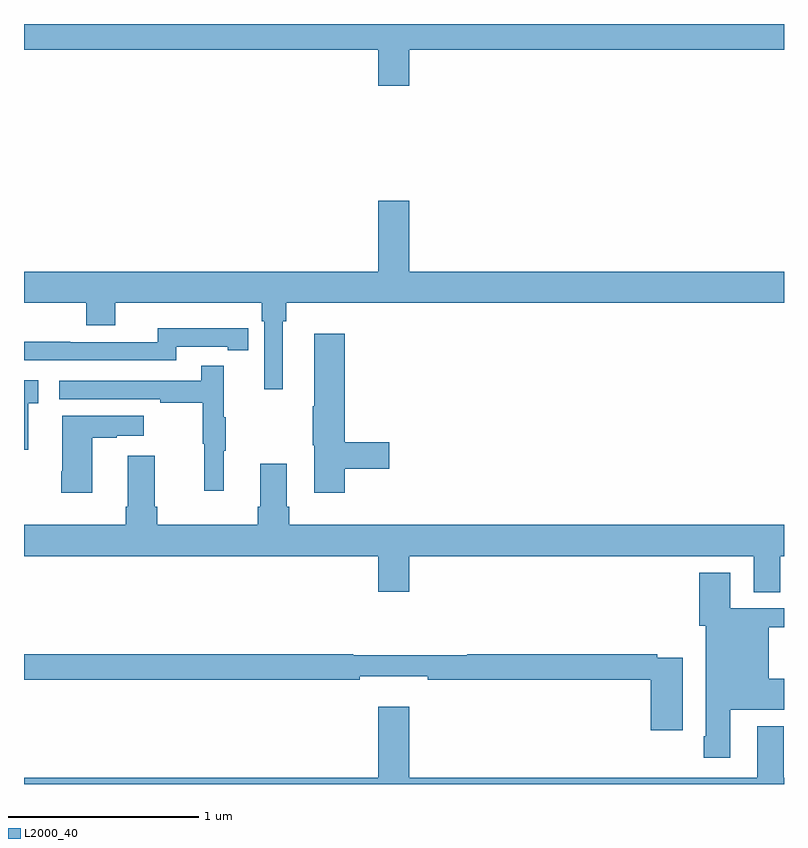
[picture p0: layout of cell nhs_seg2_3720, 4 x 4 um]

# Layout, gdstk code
import gdstk
lib = gdstk.Library(unit=1e-6, precision=1e-09)
def P(c, l, *ps):  # polygons
    for p in ps: c.add(gdstk.Polygon(p, *l))
L2000_40 = (2000, 40)

nhs_seg2_3720 = lib.new_cell('nhs_seg2_3720')
P(nhs_seg2_3720, L2000_40, [(307,619.664),(308.864,619.664),(308.864,619.476),(309.028,619.476),(309.028,619.664),(311,619.664),(311,619.8),(307,619.8)],
  [(308.362,618.236),(308.381,618.236),(308.381,618.332),(311,618.332),(311,618.496),(309.028,618.496),(309.028,618.871),(308.864,618.871),(308.864,618.496),(307,618.496),(307,618.332),(307.328,618.332),(307.328,618.215),(307.48,618.215),(307.48,618.332),(308.252,618.332),(308.252,618.236),(308.265,618.236),(308.265,617.877),(308.362,617.877)],
  [(307.8,618.102),(308.072,618.102),(308.072,618.082),(308.18,618.082),(308.18,618.198),(308.072,618.198),(308.072,618.199),(307.704,618.199),(307.704,618.126),(307.244,618.126),(307.244,618.128),(307,618.128),(307,618.03),(307.8,618.03)],
  [(308.687,617.458),(308.923,617.458),(308.923,617.6),(308.687,617.6),(308.687,618.169),(308.528,618.169),(308.528,617.789),(308.521,617.789),(308.521,617.583),(308.528,617.583),(308.528,617.334),(308.687,617.334)],
  [(308.051,617.555),(308.062,617.555),(308.062,617.729),(308.051,617.729),(308.051,618.001),(307.933,618.001),(307.933,617.922),(307.185,617.922),(307.185,617.826),(307.717,617.826),(307.717,617.806),(307.941,617.806),(307.941,617.592),(307.948,617.592),(307.948,617.343),(308.051,617.343)],
  [(307.022,617.805),(307.075,617.805),(307.075,617.926),(307,617.926),(307,617.559),(307.022,617.559)],
  [(307.36,617.623),(307.487,617.623),(307.487,617.633),(307.63,617.633),(307.63,617.737),(307.202,617.737),(307.202,617.446),(307.195,617.446),(307.195,617.334),(307.36,617.334)],
  [(310.981,617),(311,617),(311,617.164),(308.396,617.164),(308.396,617.26),(308.383,617.26),(308.383,617.485),(308.243,617.485),(308.243,617.26),(308.231,617.26),(308.231,617.164),(307.7,617.164),(307.7,617.26),(307.687,617.26),(307.687,617.527),(307.547,617.527),(307.547,617.26),(307.535,617.26),(307.535,617.164),(307,617.164),(307,617),(308.864,617),(308.864,616.812),(309.028,616.812),(309.028,617),(310.841,617),(310.841,616.81),(310.981,616.81)],
  [(310.717,616.19),(311,616.19),(311,616.354),(310.921,616.354),(310.921,616.624),(311,616.624),(311,616.725),(310.717,616.725),(310.717,616.912),(310.553,616.912),(310.553,616.632),(310.589,616.632),(310.589,616.051),(310.577,616.051),(310.577,615.939),(310.717,615.939)],
  [(310.468,616.464),(310.334,616.464),(310.334,616.484),(309.334,616.484),(309.334,616.477),(308.734,616.477),(308.734,616.484),(307,616.484),(307,616.348),(308.768,616.348),(308.768,616.367),(309.124,616.367),(309.124,616.348),(310.298,616.348),(310.298,616.083),(310.468,616.083)],
  [(311,615.832),(310.999,615.832),(310.999,616.105),(310.859,616.105),(310.859,615.832),(309.028,615.832),(309.028,616.207),(308.864,616.207),(308.864,615.832),(307,615.832),(307,615.8),(311,615.8)])

lib.write_gds('nhs_seg2_3720.gds')
